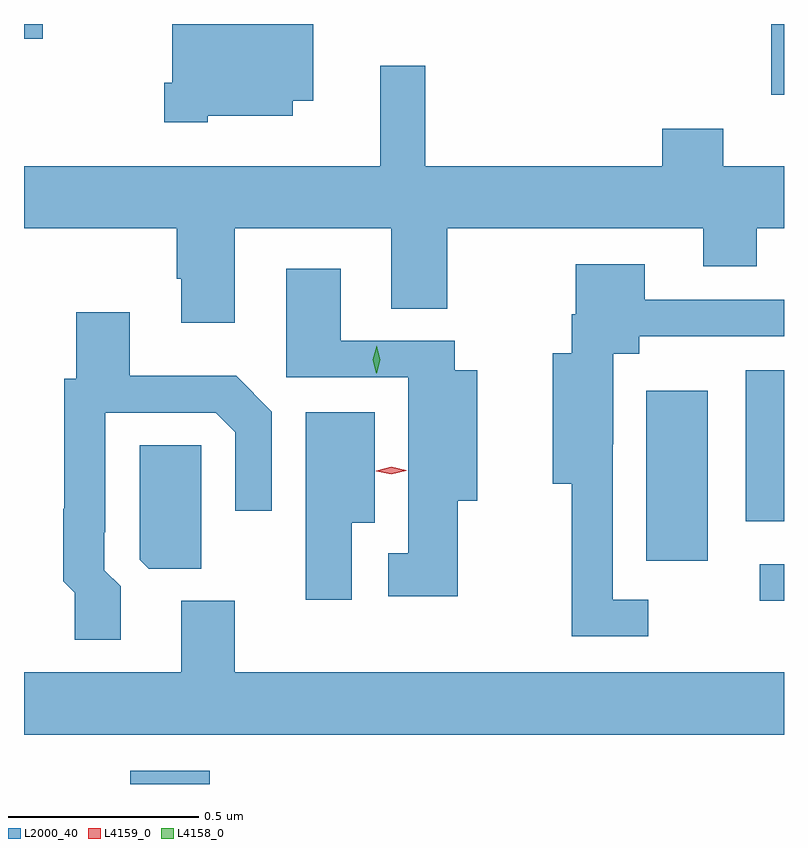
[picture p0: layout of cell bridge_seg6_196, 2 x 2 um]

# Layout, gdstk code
import gdstk
lib = gdstk.Library(unit=1e-6, precision=1e-09)
def R(c, l, rs):  # rectangles x0, y0, x1, y1
    for r in rs: c.add(gdstk.rectangle(r[:2], r[2:], *l))
def P(c, l, *ps):  # polygons
    for p in ps: c.add(gdstk.Polygon(p, *l))
L2000_40 = (2000, 40)
L4158_0 = (4158, 0)
L4159_0 = (4159, 0)

bridge_seg6_196 = lib.new_cell('bridge_seg6_196')
R(bridge_seg6_196, L2000_40, [(262.533,917.902,262.742,917.937), (264.189,918.384,264.253,918.48), (263.891,918.489,264.052,918.937), (264.152,918.593,264.253,918.991), (264.22,919.716,264.253,919.902), (262.253,919.863,262.302,919.902)])
P(bridge_seg6_196, L2000_40, [(262.737,919.661),(262.96,919.661),(262.96,919.7),(263.014,919.7),(263.014,919.902),(262.643,919.902),(262.643,919.747),(262.622,919.747),(262.622,919.643),(262.737,919.643)],
  [(262.807,919.364),(263.219,919.364),(263.219,919.153),(263.367,919.153),(263.367,919.364),(264.041,919.364),(264.041,919.265),(264.181,919.265),(264.181,919.364),(264.253,919.364),(264.253,919.528),(264.093,919.528),(264.093,919.627),(263.933,919.627),(263.933,919.528),(263.309,919.528),(263.309,919.792),(263.191,919.792),(263.191,919.528),(262.253,919.528),(262.253,919.364),(262.655,919.364),(262.655,919.231),(262.667,919.231),(262.667,919.116),(262.807,919.116)],
  [(263.896,918.387),(263.802,918.387),(263.802,918.796),(263.803,918.796),(263.803,919.034),(263.872,919.034),(263.872,919.08),(264.253,919.08),(264.253,919.176),(263.887,919.176),(263.887,919.27),(263.705,919.27),(263.705,919.138),(263.694,919.138),(263.694,919.036),(263.645,919.036),(263.645,918.692),(263.694,918.692),(263.694,918.291),(263.896,918.291)],
  [(263.394,918.647),(263.446,918.647),(263.446,918.991),(263.386,918.991),(263.386,919.068),(263.086,919.068),(263.086,919.258),(262.943,919.258),(262.943,918.972),(263.264,918.972),(263.264,918.509),(263.211,918.509),(263.211,918.396),(263.394,918.396)],
  [(262.507,918.422),(262.464,918.465),(262.464,918.565),(262.467,918.565),(262.467,918.879),(262.758,918.879),(262.809,918.828),(262.809,918.621),(262.905,918.621),(262.905,918.882),(262.811,918.976),(262.531,918.976),(262.531,919.144),(262.391,919.144),(262.391,918.969),(262.359,918.969),(262.359,918.626),(262.356,918.626),(262.356,918.436),(262.387,918.405),(262.387,918.282),(262.507,918.282)],
  [(263.116,918.59),(263.176,918.59),(263.176,918.88),(262.994,918.88),(262.994,918.387),(263.116,918.387)],
  [(262.72,918.683),(262.719,918.683),(262.719,918.794),(262.557,918.794),(262.557,918.492),(262.581,918.469),(262.72,918.469)],
  [(264.253,918.196),(262.807,918.196),(262.807,918.384),(262.667,918.384),(262.667,918.196),(262.253,918.196),(262.253,918.032),(264.253,918.032)])
P(bridge_seg6_196, L4158_0, [(263.18,918.983),(263.171,919.019),(263.181,919.055),(263.181,919.055),(263.181,919.055),(263.191,919.019),(263.181,918.983),(263.181,918.983)])
P(bridge_seg6_196, L4159_0, [(263.22,918.717),(263.18,918.725),(263.18,918.726),(263.18,918.726),(263.219,918.737),(263.259,918.728),(263.259,918.728),(263.259,918.727)])

lib.write_gds('bridge_seg6_196.gds')
